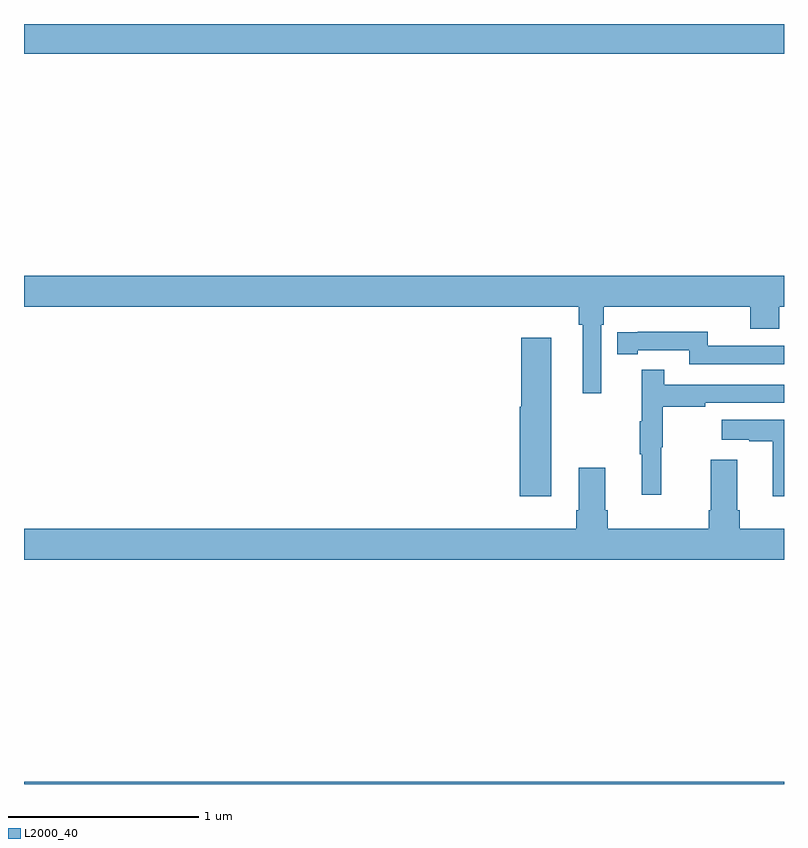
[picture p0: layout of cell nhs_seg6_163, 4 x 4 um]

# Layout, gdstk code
import gdstk
lib = gdstk.Library(unit=1e-6, precision=1e-09)
def R(c, l, rs):  # rectangles x0, y0, x1, y1
    for r in rs: c.add(gdstk.rectangle(r[:2], r[2:], *l))
def P(c, l, *ps):  # polygons
    for p in ps: c.add(gdstk.Polygon(p, *l))
L2000_40 = (2000, 40)

nhs_seg6_163 = lib.new_cell('nhs_seg6_163')
R(nhs_seg6_163, L2000_40, [(119,935.5,123,935.512), (119,939.344,123,939.5)])
P(nhs_seg6_163, L2000_40, [(122.037,937.916),(122.051,937.916),(122.051,938.012),(122.822,938.012),(122.822,937.895),(122.975,937.895),(122.975,938.012),(123,938.012),(123,938.176),(119,938.176),(119,938.012),(121.921,938.012),(121.921,937.916),(121.94,937.916),(121.94,937.557),(122.037,937.557)],
  [(123,937.806),(122.598,937.806),(122.598,937.879),(122.23,937.879),(122.23,937.878),(122.122,937.878),(122.122,937.762),(122.23,937.762),(122.23,937.782),(122.502,937.782),(122.502,937.71),(123,937.71)],
  [(121.774,937.849),(121.616,937.849),(121.616,937.485),(121.61,937.485),(121.61,937.014),(121.774,937.014)],
  [(122.354,937.272),(122.362,937.272),(122.362,937.486),(122.585,937.486),(122.585,937.506),(123,937.506),(123,937.602),(122.369,937.602),(122.369,937.681),(122.252,937.681),(122.252,937.409),(122.241,937.409),(122.241,937.235),(122.252,937.235),(122.252,937.023),(122.354,937.023)],
  [(123,937.417),(122.673,937.417),(122.673,937.313),(122.816,937.313),(122.816,937.303),(122.942,937.303),(122.942,937.014),(123,937.014)],
  [(123,936.844),(122.768,936.844),(122.768,936.94),(122.755,936.94),(122.755,937.207),(122.615,937.207),(122.615,936.94),(122.603,936.94),(122.603,936.844),(122.072,936.844),(122.072,936.94),(122.059,936.94),(122.059,937.165),(121.919,937.165),(121.919,936.94),(121.907,936.94),(121.907,936.844),(119,936.844),(119,936.68),(123,936.68)])

lib.write_gds('nhs_seg6_163.gds')
